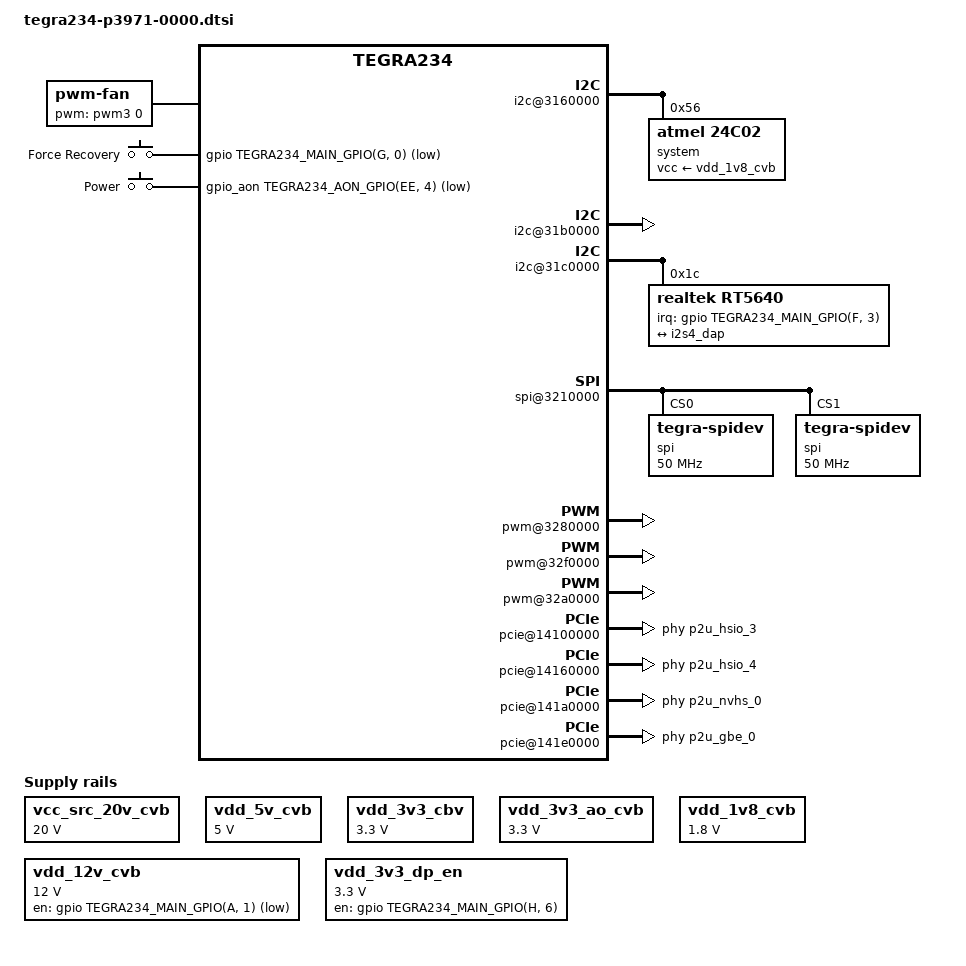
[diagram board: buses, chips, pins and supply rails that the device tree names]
// SPDX-License-Identifier: GPL-2.0-only
// SPDX-FileCopyrightText: Copyright (c) 2024, NVIDIA CORPORATION & AFFILIATES.  All rights reserved.

#include <dt-bindings/input/linux-event-codes.h>
#include <dt-bindings/input/gpio-keys.h>
#include "tegra234-dcb-p3971-0000+p3701-0000.dtsi"
#include <dt-bindings/sound/rt5640.h>

/ {
	bus@0 {
		aconnect@2900000 {
			ahub@2900800 {
				i2s@2901300 {
					ports {
						port@1 {
							endpoint {
								dai-format = "i2s";
								remote-endpoint = <&rt5640_ep>;
							};
						};
					};
				};
			};
		};

		hda@3510000 {
			nvidia,model = "NVIDIA IGX500 Orin HDA";
			status = "okay";
		};

		i2c@3160000 {
			status = "okay";

			eeprom@56 {
				compatible = "atmel,24c02";
				reg = <0x56>;

				label = "system";
				vcc-supply = <&vdd_1v8_cvb>;
				address-width = <8>;
				pagesize = <8>;
				size = <256>;
				read-only;
			};
		};

		i2c@31b0000 {
			status = "okay";
		};

		host1x@13e00000 {
			tsec@15500000 {
				status = "okay";
			};
		};

		i2c@31c0000 {
			status = "okay";

			rt5640: audio-codec@1c {
				compatible = "realtek,rt5640";
				reg = <0x1c>;

				clocks = <&bpmp TEGRA234_CLK_AUD_MCLK>;
				clock-names = "mclk";

				realtek,dmic1-data-pin = <RT5640_DMIC1_DATA_PIN_NONE>;
				realtek,dmic2-data-pin = <RT5640_DMIC2_DATA_PIN_NONE>;
				realtek,jack-detect-source = <RT5640_JD_SRC_HDA_HEADER>;

				/* Codec IRQ output */
				interrupt-parent = <&gpio>;
				interrupts = <TEGRA234_MAIN_GPIO(F, 3) GPIO_ACTIVE_HIGH>;

				#sound-dai-cells = <1>;
				sound-name-prefix = "CVB-RT";

				status = "okay";

				port {
					rt5640_ep: endpoint {
						remote-endpoint = <&i2s4_dap>;
						mclk-fs = <256>;
					};
				};
			};
		};

		/* SPI1 in 40 pin conn */
		spi@3210000 {
			status = "okay";
			spi@0 { /* chip select 0 */
				compatible = "tegra-spidev";
				reg = <0x0>;
				spi-max-frequency = <50000000>;
			};

			spi@1 { /* chips select 1 */
				compatible = "tegra-spidev";
				reg = <0x1>;
				spi-max-frequency = <50000000>;
			};
		};

		/* SPI3 is connected to Aurix */
		spi@3230000 {
			status = "disabled";
		};

		pwm@3280000 {
			status = "okay";
		};


		pwm@32f0000 {
			status = "okay";
		};

		/* Enable fan PWM */
		pwm@32a0000 {
			status = "okay";
		};

		/*
		 * This is on 40-pin header (pin-18)
		 * On Orin, the pad control configures it as GPIO/SDMMC.
		 * No pwm support.
		 */
		pwm@32c0000 {
			status = "disabled";
		};

		tachometer@39c0000 {
			status = "okay";
		};

		pcie@14100000 {
			status = "okay";

			vddio-pex-ctl-supply = <&vdd_3v3_ao_cvb>;

			phys = <&p2u_hsio_3>;
			phy-names = "p2u-0";
		};

		pcie@14160000 {
			status = "okay";

			vddio-pex-ctl-supply = <&vdd_3v3_ao_cvb>;

			phys = <&p2u_hsio_4>, <&p2u_hsio_5>, <&p2u_hsio_6>,
			     <&p2u_hsio_7>;
			phy-names = "p2u-0", "p2u-1", "p2u-2", "p2u-3";
		};

		pcie@141a0000 {
			status = "okay";

			vddio-pex-ctl-supply = <&vdd_3v3_ao_cvb>;

			phys = <&p2u_nvhs_0>, <&p2u_nvhs_1>, <&p2u_nvhs_2>,
			     <&p2u_nvhs_3>, <&p2u_nvhs_4>, <&p2u_nvhs_5>,
			     <&p2u_nvhs_6>, <&p2u_nvhs_7>;
			phy-names = "p2u-0", "p2u-1", "p2u-2", "p2u-3", "p2u-4",
				"p2u-5", "p2u-6", "p2u-7";
		};

		pcie@141e0000 {
			status = "okay";

			vddio-pex-ctl-supply = <&vdd_3v3_ao_cvb>;

			phys = <&p2u_gbe_0>, <&p2u_gbe_1>, <&p2u_gbe_2>, <&p2u_gbe_3>,
			     <&p2u_gbe_4>, <&p2u_gbe_5>, <&p2u_gbe_6>, <&p2u_gbe_7>;
			phy-names = "p2u-0", "p2u-1", "p2u-2", "p2u-3", "p2u-4",
				"p2u-5", "p2u-6", "p2u-7";
		};

		ufshci@2500000 {
			status = "okay";
		};
	};

	chosen {
		bootargs = "console=ttyTCU0,115200n8";
		stdout-path = "serial0:115200n8";
	};

        display@13800000 {
                status = "okay";
        };

	eeprom-manager {
		data-size = <0x100>;
		bus@0 {
			i2c-bus = <&gen1_i2c>;
			eeprom@1 {
				slave-address = <0x56>;
				label = "cvb";
			};
		};
	};

	fan: pwm-fan {
		compatible = "pwm-fan";
		pwms = <&pwm3 0 45334>;
		#cooling-cells = <2>;
	};

	/* fan_nvme is no-stuff, same PWM instance is routed to 40-pin header */
	fan_nvme: pwm-fan-nvme {
		compatible = "pwm-fan";
		pwms = <&pwm8 0 45334>;
		#cooling-cells = <2>;
		status = "disabled";
	};

	gpio-keys {
		compatible = "gpio-keys";

		key-force-recovery {
			label = "Force Recovery";
			gpios = <&gpio TEGRA234_MAIN_GPIO(G, 0) GPIO_ACTIVE_LOW>;
			linux,input-type = <EV_KEY>;
			linux,code = <BTN_1>;
		};

		key-power {
			label = "Power";
			gpios = <&gpio_aon TEGRA234_AON_GPIO(EE, 4) GPIO_ACTIVE_LOW>;
			linux,input-type = <EV_KEY>;
			linux,code = <KEY_POWER>;
			wakeup-event-action = <EV_ACT_ASSERTED>;
			wakeup-source;
		};
	};

	vcc_src_20v_cvb: regulator-vcc-src-fet {
		compatible = "regulator-fixed";
		reg = <1>;
		regulator-name = "VCC_SRC_FET";
		regulator-min-microvolt = <20000000>;
		regulator-max-microvolt = <20000000>;
		regulator-always-on;
		regulator-boot-on;
	};

	vdd_5v_cvb: vdd_5v_ao_cvb: regulator-vdd-5v-ao {
		compatible = "regulator-fixed";
		reg = <2>;
		regulator-name = "VDD_5V_AO";
		regulator-min-microvolt = <5000000>;
		regulator-max-microvolt = <5000000>;
		regulator-always-on;
	};

	vdd_3v3_cbv: regulator-vdd-3v3 {
		compatible = "regulator-fixed";
		reg = <3>;
		regulator-name = "VDD_3V3";
		regulator-min-microvolt = <3300000>;
		regulator-max-microvolt = <3300000>;
	};

	vdd_3v3_ao_cvb: regulator-vdd-3v3-ao {
		compatible = "regulator-fixed";
		reg = <4>;
		regulator-name = "VDD_3V3_AO";
		regulator-min-microvolt = <3300000>;
		regulator-max-microvolt = <3300000>;
		regulator-always-on;
	};

	vdd_1v8_cvb: regulator-vdd-1v8 {
		compatible = "regulator-fixed";
		reg = <5>;
		regulator-name = "VDD_1V8";
		regulator-min-microvolt = <1800000>;
		regulator-max-microvolt = <1800000>;
	};

	vdd_12v_cvb: regulator-vdd-12v {
		compatible = "regulator-fixed";
		reg = <6>;
		regulator-name = "VDD_12V";
		regulator-min-microvolt = <12000000>;
		regulator-max-microvolt = <12000000>;
		gpio = <&gpio TEGRA234_MAIN_GPIO(A, 1) GPIO_ACTIVE_LOW>;
		regulator-always-on;
	};

	vdd_3v3_dp_en: regulator-vdd-3v3-dp-en {
		compatible = "regulator-fixed";
		reg = <7>;
		regulator-name = "VDD_3V3_DP_EN";
		regulator-min-microvolt = <3300000>;
		regulator-max-microvolt = <3300000>;
		gpio = <&gpio TEGRA234_MAIN_GPIO(H, 6) GPIO_ACTIVE_HIGH>;
		regulator-always-on;
		enable-active-high;
	};

	sound {
		status = "okay";

		compatible = "nvidia,tegra186-audio-graph-card";

		dais = /* ADMAIF (FE) Ports */
		       <&admaif0_port>, <&admaif1_port>, <&admaif2_port>, <&admaif3_port>,
		       <&admaif4_port>, <&admaif5_port>, <&admaif6_port>, <&admaif7_port>,
		       <&admaif8_port>, <&admaif9_port>, <&admaif10_port>, <&admaif11_port>,
		       <&admaif12_port>, <&admaif13_port>, <&admaif14_port>, <&admaif15_port>,
		       <&admaif16_port>, <&admaif17_port>, <&admaif18_port>, <&admaif19_port>,
		       /* XBAR Ports */
		       <&xbar_i2s1_port>, <&xbar_i2s2_port>, <&xbar_i2s4_port>,
		       <&xbar_i2s6_port>, <&xbar_dmic3_port>,
		       <&xbar_sfc1_in_port>, <&xbar_sfc2_in_port>,
		       <&xbar_sfc3_in_port>, <&xbar_sfc4_in_port>,
		       <&xbar_mvc1_in_port>, <&xbar_mvc2_in_port>,
		       <&xbar_amx1_in1_port>, <&xbar_amx1_in2_port>,
		       <&xbar_amx1_in3_port>, <&xbar_amx1_in4_port>,
		       <&xbar_amx2_in1_port>, <&xbar_amx2_in2_port>,
		       <&xbar_amx2_in3_port>, <&xbar_amx2_in4_port>,
		       <&xbar_amx3_in1_port>, <&xbar_amx3_in2_port>,
		       <&xbar_amx3_in3_port>, <&xbar_amx3_in4_port>,
		       <&xbar_amx4_in1_port>, <&xbar_amx4_in2_port>,
		       <&xbar_amx4_in3_port>, <&xbar_amx4_in4_port>,
		       <&xbar_adx1_in_port>, <&xbar_adx2_in_port>,
		       <&xbar_adx3_in_port>, <&xbar_adx4_in_port>,
		       <&xbar_mix_in1_port>, <&xbar_mix_in2_port>,
		       <&xbar_mix_in3_port>, <&xbar_mix_in4_port>,
		       <&xbar_mix_in5_port>, <&xbar_mix_in6_port>,
		       <&xbar_mix_in7_port>, <&xbar_mix_in8_port>,
		       <&xbar_mix_in9_port>, <&xbar_mix_in10_port>,
		       <&xbar_asrc_in1_port>, <&xbar_asrc_in2_port>,
		       <&xbar_asrc_in3_port>, <&xbar_asrc_in4_port>,
		       <&xbar_asrc_in5_port>, <&xbar_asrc_in6_port>,
		       <&xbar_asrc_in7_port>,
		       <&xbar_ope1_in_port>,
		       /* HW accelerators */
		       <&sfc1_out_port>, <&sfc2_out_port>,
		       <&sfc3_out_port>, <&sfc4_out_port>,
		       <&mvc1_out_port>, <&mvc2_out_port>,
		       <&amx1_out_port>, <&amx2_out_port>,
		       <&amx3_out_port>, <&amx4_out_port>,
		       <&adx1_out1_port>, <&adx1_out2_port>,
		       <&adx1_out3_port>, <&adx1_out4_port>,
		       <&adx2_out1_port>, <&adx2_out2_port>,
		       <&adx2_out3_port>, <&adx2_out4_port>,
		       <&adx3_out1_port>, <&adx3_out2_port>,
		       <&adx3_out3_port>, <&adx3_out4_port>,
		       <&adx4_out1_port>, <&adx4_out2_port>,
		       <&adx4_out3_port>, <&adx4_out4_port>,
		       <&mix_out1_port>, <&mix_out2_port>, <&mix_out3_port>,
		       <&mix_out4_port>, <&mix_out5_port>,
		       <&asrc_out1_port>, <&asrc_out2_port>, <&asrc_out3_port>,
		       <&asrc_out4_port>, <&asrc_out5_port>, <&asrc_out6_port>,
		       <&ope1_out_port>,
		       /* BE I/O Ports */
		       <&i2s1_port>, <&i2s2_port>, <&i2s4_port>, <&i2s6_port>,
		       <&dmic3_port>;

		label = "NVIDIA IGX500 Orin APE";

		widgets = "Microphone",	"CVB-RT MIC Jack",
			  "Microphone",	"CVB-RT MIC",
			  "Headphone",	"CVB-RT HP Jack",
			  "Speaker",	"CVB-RT SPK";

		routing = /* I2S4 <-> RT5640 */
			  "CVB-RT AIF1 Playback",	"I2S4 DAP-Playback",
			  "I2S4 DAP-Capture",		"CVB-RT AIF1 Capture",
			  /* RT5640 codec controls */
			  "CVB-RT HP Jack",		"CVB-RT HPOL",
			  "CVB-RT HP Jack",		"CVB-RT HPOR",
			  "CVB-RT IN1P",		"CVB-RT MIC Jack",
			  "CVB-RT IN2P",		"CVB-RT MIC Jack",
			  "CVB-RT IN2N",		"CVB-RT MIC Jack",
			  "CVB-RT IN3P",		"CVB-RT MIC Jack",
			  "CVB-RT SPK",			"CVB-RT SPOLP",
			  "CVB-RT SPK",			"CVB-RT SPORP",
			  "CVB-RT SPK",			"CVB-RT LOUTL",
			  "CVB-RT SPK",			"CVB-RT LOUTR",
			  "CVB-RT DMIC1",		"CVB-RT MIC",
			  "CVB-RT DMIC2",		"CVB-RT MIC";
	};
};
